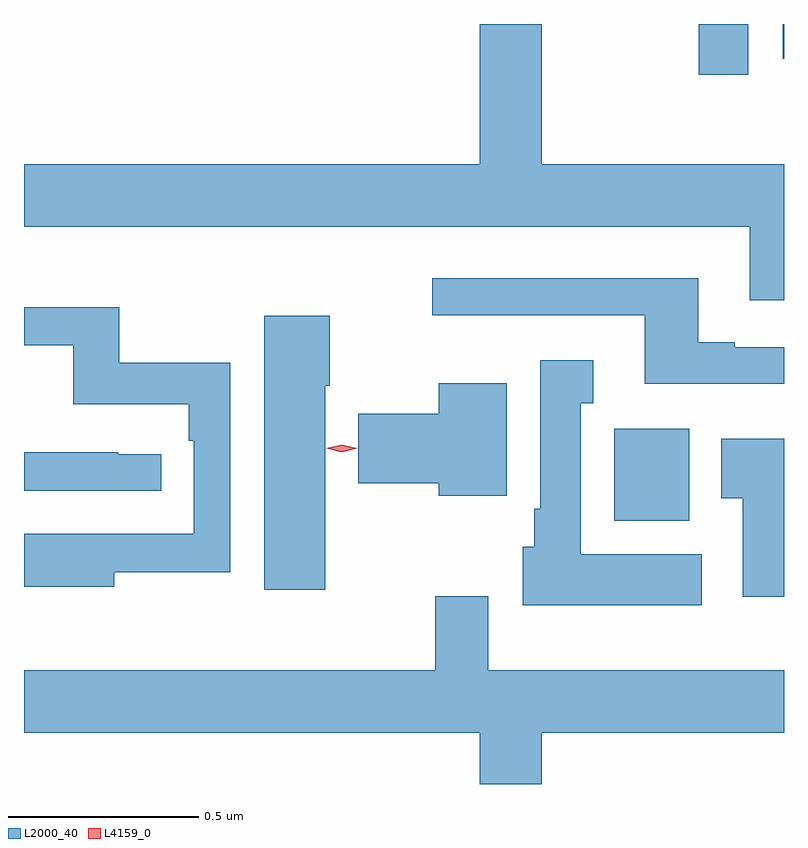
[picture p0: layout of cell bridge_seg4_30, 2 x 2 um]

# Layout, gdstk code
import gdstk
lib = gdstk.Library(unit=1e-6, precision=1e-09)
def R(c, l, rs):  # rectangles x0, y0, x1, y1
    for r in rs: c.add(gdstk.rectangle(r[:2], r[2:], *l))
def P(c, l, *ps):  # polygons
    for p in ps: c.add(gdstk.Polygon(p, *l))
L2000_40 = (2000, 40)
L4159_0 = (4159, 0)

bridge_seg4_30 = lib.new_cell('bridge_seg4_30')
R(bridge_seg4_30, L2000_40, [(932.594,790.718,932.791,790.96), (932.816,791.892,932.947,792.025), (933.038,791.933,933.041,792.025)])
P(bridge_seg4_30, L2000_40, [(933.041,791.656),(932.404,791.656),(932.404,792.025),(932.24,792.025),(932.24,791.656),(931.041,791.656),(931.041,791.492),(932.951,791.492),(932.951,791.298),(933.041,791.298)],
  [(933.041,791.175),(932.911,791.175),(932.911,791.188),(932.815,791.188),(932.815,791.356),(932.115,791.356),(932.115,791.259),(932.675,791.259),(932.675,791.078),(933.041,791.078)],
  [(931.279,790.582),(931.584,790.582),(931.584,791.134),(931.291,791.134),(931.291,791.28),(931.041,791.28),(931.041,791.179),(931.17,791.179),(931.17,791.024),(931.475,791.024),(931.475,790.928),(931.488,790.928),(931.488,790.683),(931.175,790.683),(931.175,790.684),(931.041,790.684),(931.041,790.544),(931.279,790.544)],
  [(931.834,791.073),(931.846,791.073),(931.846,791.257),(931.673,791.257),(931.673,790.536),(931.834,790.536)],
  [(932.824,790.63),(932.506,790.63),(932.506,791.027),(932.539,791.027),(932.539,791.14),(932.399,791.14),(932.399,790.75),(932.384,790.75),(932.384,790.65),(932.354,790.65),(932.354,790.496),(932.824,790.496)],
  [(932.311,791.08),(932.132,791.08),(932.132,791),(931.92,791),(931.92,790.817),(932.132,790.817),(932.132,790.784),(932.311,790.784)],
  [(933.041,790.933),(932.876,790.933),(932.876,790.777),(932.933,790.777),(932.933,790.518),(933.041,790.518)],
  [(931.402,790.893),(931.289,790.893),(931.289,790.898),(931.041,790.898),(931.041,790.797),(931.402,790.797)],
  [(932.404,790.16),(933.041,790.16),(933.041,790.324),(932.263,790.324),(932.263,790.519),(932.123,790.519),(932.123,790.324),(931.041,790.324),(931.041,790.16),(932.24,790.16),(932.24,790.025),(932.404,790.025)])
P(bridge_seg4_30, L4159_0, [(931.877,790.898),(931.836,790.908),(931.836,790.908),(931.836,790.909),(931.877,790.918),(931.918,790.908),(931.918,790.908),(931.918,790.908)])

lib.write_gds('bridge_seg4_30.gds')
